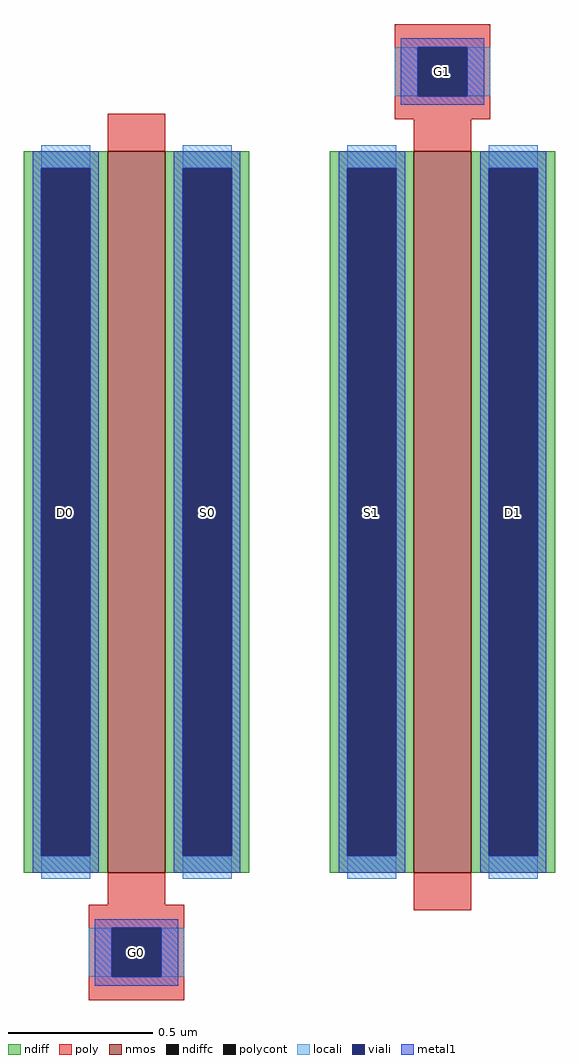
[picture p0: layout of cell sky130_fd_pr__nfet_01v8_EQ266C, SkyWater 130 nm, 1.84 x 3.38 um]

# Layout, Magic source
magic
tech sky130A
magscale 1 2
<< nmos >>
rect -126 -250 -86 250
rect 86 -250 126 250
<< ndiff >>
rect -184 238 -126 250
rect -184 -238 -172 238
rect -138 -238 -126 238
rect -184 -250 -126 -238
rect -86 238 -28 250
rect -86 -238 -74 238
rect -40 -238 -28 238
rect -86 -250 -28 -238
rect 28 238 86 250
rect 28 -238 40 238
rect 74 -238 86 238
rect 28 -250 86 -238
rect 126 238 184 250
rect 126 -238 138 238
rect 172 -238 184 238
rect 126 -250 184 -238
<< ndiffc >>
rect -172 -238 -138 238
rect -74 -238 -40 238
rect 40 -238 74 238
rect 138 -238 172 238
<< poly >>
rect 73 322 139 338
rect 73 288 89 322
rect 123 288 139 322
rect -126 250 -86 276
rect 73 272 139 288
rect 86 250 126 272
rect -126 -272 -86 -250
rect -139 -288 -73 -272
rect 86 -276 126 -250
rect -139 -322 -123 -288
rect -89 -322 -73 -288
rect -139 -338 -73 -322
<< polycont >>
rect 89 288 123 322
rect -123 -322 -89 -288
<< locali >>
rect 73 288 89 322
rect 123 288 139 322
rect -172 238 -138 254
rect -172 -254 -138 -238
rect -74 238 -40 254
rect -74 -254 -40 -238
rect 40 238 74 254
rect 40 -254 74 -238
rect 138 238 172 254
rect 138 -254 172 -238
rect -139 -322 -123 -288
rect -89 -322 -73 -288
<< viali >>
rect 89 288 123 322
rect -172 -238 -138 238
rect -74 -238 -40 238
rect 40 -238 74 238
rect 138 -238 172 238
rect -123 -322 -89 -288
<< metal1 >>
rect 77 322 135 328
rect 77 288 89 322
rect 123 288 135 322
rect 77 282 135 288
rect -178 238 -132 250
rect -178 -238 -172 238
rect -138 -238 -132 238
rect -178 -250 -132 -238
rect -80 238 -34 250
rect -80 -238 -74 238
rect -40 -238 -34 238
rect -80 -250 -34 -238
rect 34 238 80 250
rect 34 -238 40 238
rect 74 -238 80 238
rect 34 -250 80 -238
rect 132 238 178 250
rect 132 -238 138 238
rect 172 -238 178 238
rect 132 -250 178 -238
rect -135 -288 -77 -282
rect -135 -322 -123 -288
rect -89 -322 -77 -288
rect -135 -328 -77 -322
<< labels >>
rlabel ndiffc -155 0 -155 0 0 D0
port 1 nsew
rlabel ndiffc -57 0 -57 0 0 S0
port 2 nsew
rlabel polycont -106 -305 -106 -305 0 G0
port 3 nsew
rlabel ndiffc 155 0 155 0 0 D1
port 4 nsew
rlabel ndiffc 57 0 57 0 0 S1
port 5 nsew
rlabel polycont 106 305 106 305 0 G1
port 6 nsew
<< properties >>
string gencell sky130_fd_pr__nfet_01v8
string library sky130
string parameters w 2.5 l 0.2 m 1 nf 2 diffcov 100 polycov 100 guard 0 glc 1 grc 1 gtc 1 gbc 1 tbcov 100 rlcov 100 topc 1 botc 1 poverlap 0 doverlap 0 lmin 0.15 wmin 0.42 class mosfet compatible {sky130_fd_pr__nfet_01v8 sky130_fd_pr__nfet_01v8_lvt  sky130_fd_bs_flash__special_sonosfet_star  sky130_fd_pr__nfet_g5v0d10v5 sky130_fd_pr__nfet_05v0_nvt  sky130_fd_pr__nfet_03v3_nvt} full_metal 1 conn_gates 0 viasrc 100 viadrn 100 viagate 100 viagb 0 viagr 0 viagl 0 viagt 0 doports 1
<< end >>
